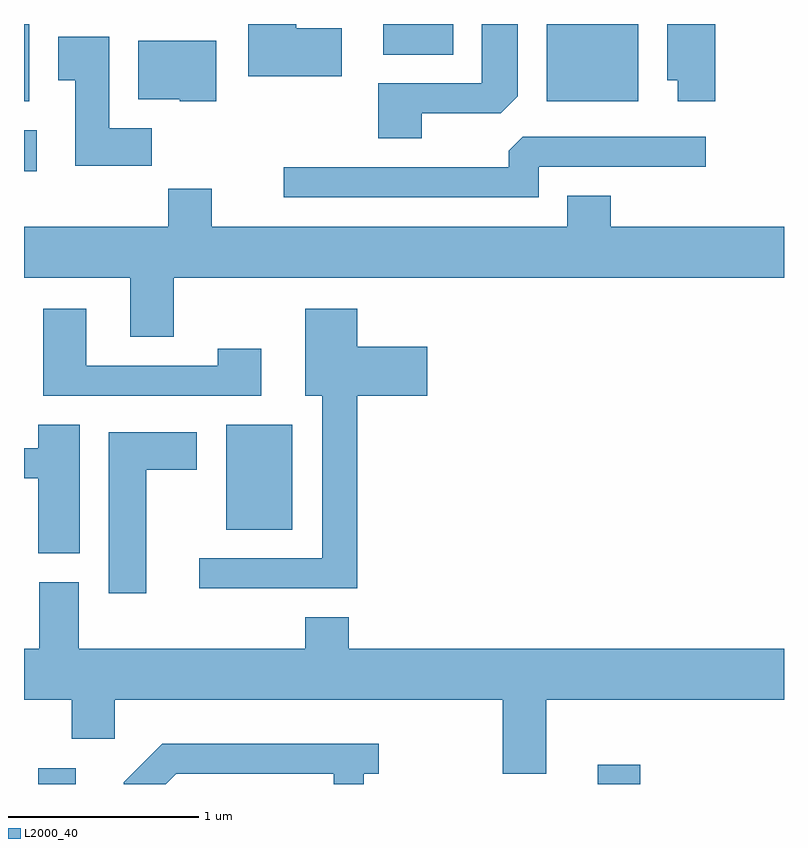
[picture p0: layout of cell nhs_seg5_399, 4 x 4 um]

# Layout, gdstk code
import gdstk
lib = gdstk.Library(unit=1e-6, precision=1e-09)
def R(c, l, rs):  # rectangles x0, y0, x1, y1
    for r in rs: c.add(gdstk.rectangle(r[:2], r[2:], *l))
def P(c, l, *ps):  # polygons
    for p in ps: c.add(gdstk.Polygon(p, *l))
L2000_40 = (2000, 40)

nhs_seg5_399 = lib.new_cell('nhs_seg5_399')
R(nhs_seg5_399, L2000_40, [(195.686,1514.072,195.884,1514.154), (198.631,1514.072,198.854,1514.174), (196.676,1515.411,197.024,1515.964), (195.611,1517.296,195.679,1517.514), (195.611,1517.666,195.639,1518.072), (198.361,1517.666,198.844,1518.072), (197.501,1517.911,197.869,1518.072)])
P(nhs_seg5_399, L2000_40, [(197.704,1517.601),(198.119,1517.601),(198.209,1517.692),(198.209,1518.072),(198.021,1518.072),(198.021,1517.759),(197.476,1517.759),(197.476,1517.471),(197.704,1517.471)],
  [(199.249,1518.072),(198.996,1518.072),(198.996,1517.776),(199.051,1517.776),(199.051,1517.666),(199.249,1517.666)],
  [(197.284,1518.049),(197.044,1518.049),(197.044,1518.072),(196.791,1518.072),(196.791,1517.796),(197.284,1517.796)],
  [(196.284,1517.524),(196.059,1517.524),(196.059,1518.004),(195.791,1518.004),(195.791,1517.776),(195.881,1517.776),(195.881,1517.326),(196.284,1517.326)],
  [(196.624,1517.984),(196.211,1517.984),(196.211,1517.676),(196.43,1517.676),(196.43,1517.666),(196.624,1517.666)],
  [(198.319,1517.321),(199.198,1517.321),(199.198,1517.479),(198.237,1517.479),(198.161,1517.404),(198.161,1517.319),(196.978,1517.319),(196.978,1517.161),(198.319,1517.161)],
  [(196.399,1516.736),(199.611,1516.736),(199.611,1517.004),(198.699,1517.004),(198.699,1517.169),(198.471,1517.169),(198.471,1517.004),(196.599,1517.004),(196.599,1517.204),(196.371,1517.204),(196.371,1517.004),(195.611,1517.004),(195.611,1516.736),(196.171,1516.736),(196.171,1516.426),(196.399,1516.426)],
  [(197.364,1516.116),(197.734,1516.116),(197.734,1516.374),(197.364,1516.374),(197.364,1516.574),(197.091,1516.574),(197.091,1516.116),(197.181,1516.116),(197.181,1515.259),(196.533,1515.259),(196.533,1515.101),(197.364,1515.101)],
  [(196.859,1516.364),(196.631,1516.364),(196.631,1516.274),(195.939,1516.274),(195.939,1516.574),(195.711,1516.574),(195.711,1516.116),(196.859,1516.116)],
  [(195.904,1515.964),(195.686,1515.964),(195.686,1515.839),(195.611,1515.839),(195.611,1515.681),(195.686,1515.681),(195.686,1515.286),(195.904,1515.286)],
  [(196.254,1515.726),(196.519,1515.726),(196.519,1515.924),(196.056,1515.924),(196.056,1515.076),(196.254,1515.076)],
  [(198.359,1514.516),(199.611,1514.516),(199.611,1514.784),(197.319,1514.784),(197.319,1514.949),(197.091,1514.949),(197.091,1514.784),(195.899,1514.784),(195.899,1515.134),(195.691,1515.134),(195.691,1514.784),(195.611,1514.784),(195.611,1514.516),(195.861,1514.516),(195.861,1514.311),(196.089,1514.311),(196.089,1514.516),(198.131,1514.516),(198.131,1514.126),(198.359,1514.126)],
  [(196.412,1514.126),(197.241,1514.126),(197.241,1514.072),(197.399,1514.072),(197.399,1514.126),(197.478,1514.126),(197.478,1514.284),(196.339,1514.284),(196.136,1514.082),(196.136,1514.072),(196.358,1514.072)])

lib.write_gds('nhs_seg5_399.gds')
